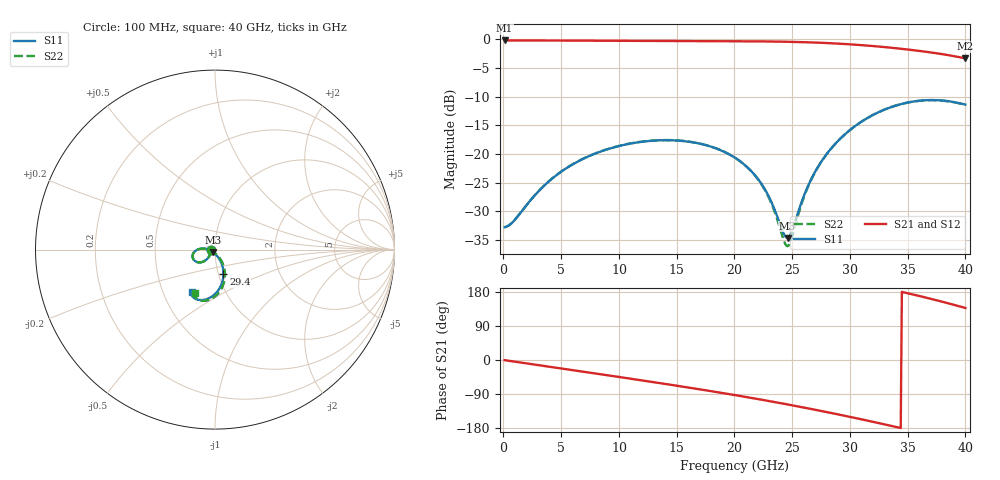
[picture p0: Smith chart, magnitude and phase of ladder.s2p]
! E_s8_L1L8_p1200_round_g2: via ladder as kisi uses it (kisi_si::via_pbm, graded grid, junction model), differential mode (per line 50 ohm)
# Hz S RI R 50
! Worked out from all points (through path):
!   400 points, 100 MHz to 40 GHz, reference 50 ohm
!   highest |S21| = -0.20 dB at 100 MHz (marker M1); lowest = -3.3 dB at 40 GHz (marker M2)
!   group delay of S21, straight-line fit = 15 ps
!   lowest |S11| = -34.6 dB at 24.6 GHz (marker M3), VSWR 1.04, Z = 48.9 - j1.5 ohm
!   |S11| at or under -10 dB: start of sweep to end of sweep
!   |S22| runs from -36.1 to -10.6 dB; largest |S21 - S12| = 0
!   S11 on the Smith chart (normalised r, x): 100 MHz: 0.96, -0.00; 29.4 GHz: 1.06, -0.29; 40 GHz: 0.70, -0.35
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1e8  -0.023 -0.00122  0.977 -0.00758  0.977 -0.00758  -0.023 -0.00122
8e8  -0.0236 -0.0097  0.9751 -0.0606  0.9751 -0.0606  -0.0236 -0.00975
3.9e9  -0.037 -0.044  0.9313 -0.291  0.9313 -0.291  -0.037 -0.0442
6.8e9  -0.0617 -0.0652  0.8403 -0.4912  0.8403 -0.4912  -0.0619 -0.0655
1e10  -0.0939 -0.0704  0.6893 -0.6827  0.6893 -0.6827  -0.0942 -0.0708
1.34e10  -0.1199 -0.0542  0.4788 -0.8402  0.4788 -0.8402  -0.1202 -0.0545
1.71e10  -0.1208 -0.021  0.2022 -0.9432  0.2022 -0.9432  -0.1211 -0.021
2.01e10  -0.0922 0.00156  -0.0488 -0.9612  -0.0488 -0.9612  -0.0921 0.00209
2.14e10  -0.0719 0.00504  -0.1618 -0.947  -0.1618 -0.947  -0.0715 0.00593
2.25e10  -0.0519 0.00325  -0.2576 -0.9233  -0.2576 -0.9233  -0.0511 0.00452
2.34e10  -0.0343 -0.0021  -0.3353 -0.8953  -0.3353 -0.8953  -0.0331 -0.000475
2.43e10  -0.0164 -0.0113  -0.4113 -0.8595  -0.4113 -0.8595  -0.0147 -0.00935
2.46e10  -0.0105 -0.0153  -0.4361 -0.8457  -0.4361 -0.8457  -0.00857 -0.0132
2.49e10  -0.00474 -0.0198  -0.4606 -0.831  -0.4606 -0.831  -0.00253 -0.0175
2.58e10  0.0118 -0.0359  -0.5316 -0.7815  -0.5316 -0.7815  0.0148 -0.0333
2.67e10  0.0262 -0.0561  -0.5981 -0.7239  -0.5981 -0.7239  0.0302 -0.0532
2.79e10  0.0404 -0.0885  -0.6776 -0.6351  -0.6776 -0.6351  0.0461 -0.0854
2.94e10  0.0473 -0.1354  -0.7581 -0.5071  -0.7581 -0.5071  0.0553 -0.1323
3.13e10  0.0347 -0.197  -0.8234 -0.3245  -0.8234 -0.3245  0.0461 -0.1948
3.34e10  -0.00594 -0.2528  -0.8407 -0.1094  -0.8407 -0.1094  0.00908 -0.2529
3.67e10  -0.0939 -0.2795  -0.745 0.2166  -0.745 0.2166  -0.0755 -0.2848
4e10  -0.1303 -0.2364  -0.5001 0.4628  -0.5001 0.4628  -0.112 -0.2441
